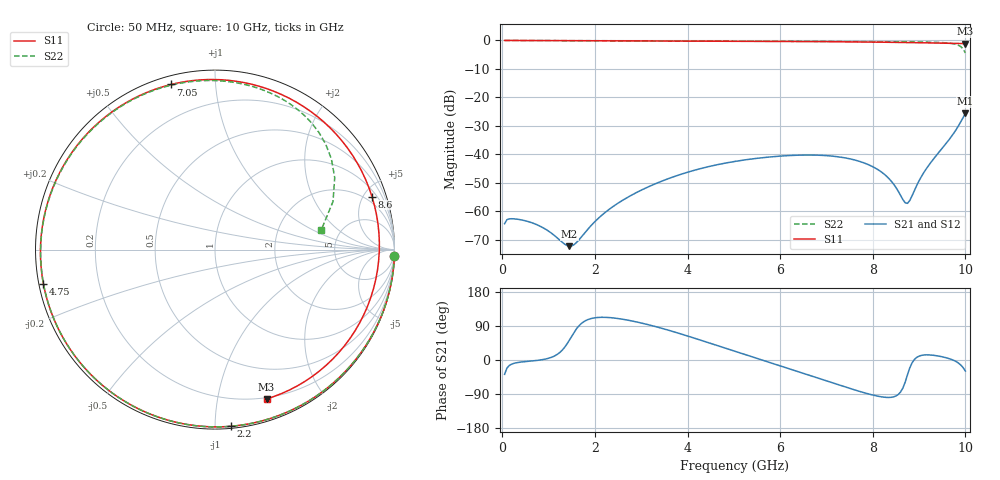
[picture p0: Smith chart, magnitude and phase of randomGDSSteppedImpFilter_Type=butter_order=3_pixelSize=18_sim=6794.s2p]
! freq	dB(S11)	phase(S11)	dB(S12)	phase(S12)
!  dB(S21)	phase(S21)	dB(S22)	phase(S22)
!S-par simulation data
#  GHz  S  DB  R 50
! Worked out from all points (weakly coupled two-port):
!   200 points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, 50 MHz to 10 GHz, reference 50 ohm
!   highest |S21| = -25.63 dB at 10 GHz (marker M1); lowest = -72.3 dB at 1.45 GHz (marker M2)
!   lowest |S11| = -1.1 dB at 10 GHz (marker M3), VSWR 15.77, Z = 9.34 - j69.3 ohm
!   |S11| at or under -10 dB: nowhere
!   |S22| runs from -4.4 to 0.0 dB; largest |S21 - S12| = 0
!   S11 on the Smith chart (normalised r, x): 50 MHz: 0, -56; 2.2 GHz: 0.01, -1.09; 4.75 GHz: 0.01, -0.10; 7.05 GHz: 0.04, +0.77; 8.6 GHz: 1.43, +5.73; 10 GHz: 0.19, -1.39
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0.05  -0.00 -2.0  -64.39 -37.8  -64.39 -37.8  -0.00 -1.9
0.2  -0.00 -8.2  -62.66 -11.0  -62.66 -11.0  -0.00 -7.7
0.65  -0.03 -26.3  -64.14 -2.4  -64.14 -2.4  -0.02 -25.0
1.45  -0.07 -57.4  -72.30 52.8  -72.30 52.8  -0.07 -54.4
1.75  -0.08 -68.6  -68.21 100.3  -68.21 100.3  -0.08 -64.9
2.2  -0.10 -84.8  -60.73 112.7  -60.73 112.7  -0.10 -80.0
2.8  -0.12 -105.5  -54.29 103.0  -54.29 103.0  -0.12 -99.1
3.4  -0.15 -125.3  -49.73 85.2  -49.73 85.2  -0.14 -117.1
4.1  -0.18 -147.7  -45.84 59.5  -45.84 59.5  -0.17 -136.7
4.75  -0.22 -168.6  -43.32 33.8  -43.32 33.8  -0.20 -154.1
5.05  -0.24 -178.4  -42.44 21.8  -42.44 21.8  -0.21 -162.0
5.9  -0.31 152.1  -40.78 -11.4  -40.78 -11.4  -0.26 176.0
6.7  -0.39 120.5  -40.28 -42.9  -40.28 -42.9  -0.31 155.0
7.05  -0.43 104.9  -40.54 -56.9  -40.54 -56.9  -0.34 145.7
7.7  -0.52 72.2  -42.43 -82.3  -42.43 -82.3  -0.39 127.6
8.35  -0.64 34.4  -48.56 -98.9  -48.56 -98.9  -0.45 108.2
8.6  -0.69 18.7  -54.45 -84.5  -54.45 -84.5  -0.48 100.3
8.75  -0.73 9.0  -57.24 -38.8  -57.24 -38.8  -0.50 95.3
9.1  -0.82 -13.8  -46.49 13.2  -46.49 13.2  -0.56 82.8
9.6  -0.97 -46.2  -35.88 5.4  -35.88 5.4  -0.86 59.4
9.85  -1.06 -61.9  -30.02 -8.1  -30.02 -8.1  -1.70 38.0
10  -1.10 -70.9  -25.63 -29.1  -25.63 -29.1  -4.40 10.6
